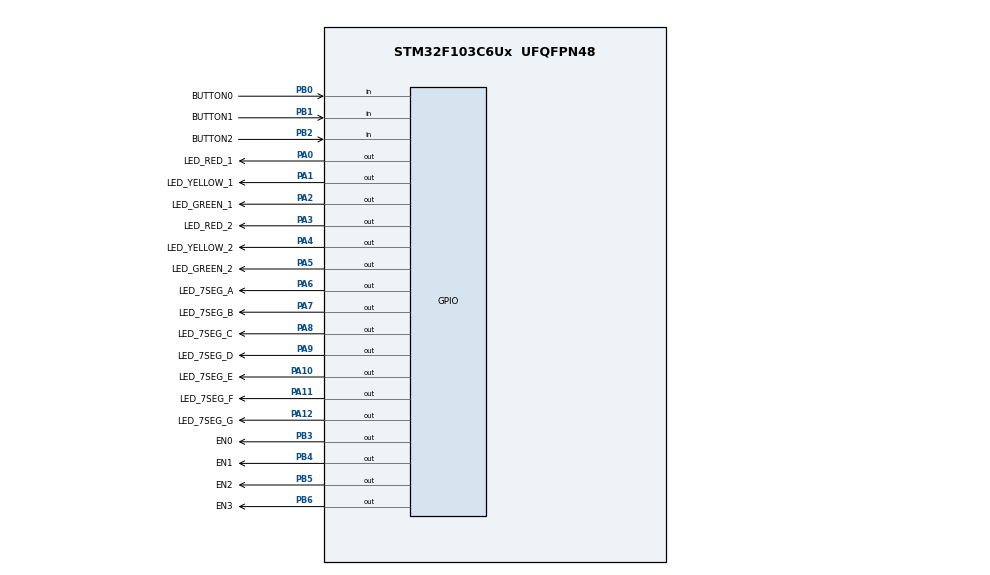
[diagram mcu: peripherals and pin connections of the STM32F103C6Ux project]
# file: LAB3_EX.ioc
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Mcu.Family=STM32F1
Mcu.Name=STM32F103C6Ux
Mcu.Package=UFQFPN48
NVIC.PriorityGroup=NVIC_PRIORITYGROUP_4
NVIC.TIM2_IRQn=true\:0\:0\:false\:false\:true\:true\:true
PA0-WKUP.GPIO_Label=LED_RED_1
PA0-WKUP.Signal=GPIO_Output
PA1.GPIO_Label=LED_YELLOW_1
PA1.Signal=GPIO_Output
PA10.GPIO_Label=LED_7SEG_E
PA10.Signal=GPIO_Output
PA11.GPIO_Label=LED_7SEG_F
PA11.Signal=GPIO_Output
PA12.GPIO_Label=LED_7SEG_G
PA12.Signal=GPIO_Output
PA2.GPIO_Label=LED_GREEN_1
PA2.Signal=GPIO_Output
PA3.GPIO_Label=LED_RED_2
PA3.Signal=GPIO_Output
PA4.GPIO_Label=LED_YELLOW_2
PA4.Signal=GPIO_Output
PA5.GPIO_Label=LED_GREEN_2
PA5.Signal=GPIO_Output
PA6.GPIO_Label=LED_7SEG_A
PA6.Signal=GPIO_Output
PA7.GPIO_Label=LED_7SEG_B
PA7.Signal=GPIO_Output
PA8.GPIO_Label=LED_7SEG_C
PA8.Signal=GPIO_Output
PA9.GPIO_Label=LED_7SEG_D
PA9.Signal=GPIO_Output
PB0.GPIO_Label=BUTTON0
PB0.GPIO_PuPd=GPIO_PULLUP
PB0.Signal=GPIO_Input
PB1.GPIO_Label=BUTTON1
PB1.GPIO_PuPd=GPIO_PULLUP
PB1.Signal=GPIO_Input
PB2.GPIO_Label=BUTTON2
PB2.GPIO_PuPd=GPIO_PULLUP
PB2.Signal=GPIO_Input
PB3.GPIO_Label=EN0
PB3.Signal=GPIO_Output
PB4.GPIO_Label=EN1
PB4.Signal=GPIO_Output
PB5.GPIO_Label=EN2
PB5.Signal=GPIO_Output
PB6.GPIO_Label=EN3
PB6.Signal=GPIO_Output
ProjectManager.HeapSize=0x200
ProjectManager.StackSize=0x400
ProjectManager.TargetToolchain=STM32CubeIDE
RCC.APB1Freq_Value=8000000
RCC.APB2Freq_Value=8000000
TIM2.Period=9
TIM2.Prescaler=7999
VP_SYS_VS_ND.Mode=No_Debug
VP_TIM2_VS_ClockSourceINT.Mode=Internal
board=custom

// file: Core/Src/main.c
/* USER CODE BEGIN Header */
/**
  ******************************************************************************
  * @file           : main.c
  * @brief          : Main program body
  ******************************************************************************
  * @attention
  *
  * <h2><center>&copy; Copyright (c) 2023 STMicroelectronics.
  * All rights reserved.</center></h2>
  *
  * This software component is licensed by ST under BSD 3-Clause license,
  * the "License"; You may not use this file except in compliance with the
  * License. You may obtain a copy of the License at:
  *                        opensource.org/licenses/BSD-3-Clause
  *
  ******************************************************************************
  */
/* USER CODE END Header */
#include "main.h"

/* USER CODE BEGIN Includes */
#include "global.h"
#include "software_timer.h"
#include "BUTTON.h"
#include "led_traffic.h"
#include "led_7_seg.h"
#include "traffic_fsm.h"
/* USER CODE END Includes */

TIM_HandleTypeDef htim2;

void SystemClock_Config(void);
static void MX_GPIO_Init(void);
static void MX_TIM2_Init(void);

int main(void)
{

  /* MCU Configuration--------------------------------------------------------*/

  /* Reset of all peripherals, Initializes the Flash interface and the Systick. */
  HAL_Init();

  /* Configure the system clock */
  SystemClock_Config();

  /* Initialize all configured peripherals */
  MX_GPIO_Init();
  MX_TIM2_Init();
  /* USER CODE BEGIN 2 */
  HAL_TIM_Base_Start_IT(&htim2);
  /* USER CODE END 2 */

  /* Infinite loop */
  /* USER CODE BEGIN WHILE */

  set_timer(3, 100);
  set_timer1(3);//4Led_7SEG
  while (1)
  {

	  fsm_for_button();
	  led_7seg_run();
	  fsm_system_run();
    /* USER CODE END WHILE */

  }
}

void SystemClock_Config(void)
{
  RCC_OscInitTypeDef RCC_OscInitStruct = {0};
  RCC_ClkInitTypeDef RCC_ClkInitStruct = {0};

  /** Initializes the RCC Oscillators according to the specified parameters
  * in the RCC_OscInitTypeDef structure.
  */
  RCC_OscInitStruct.OscillatorType = RCC_OSCILLATORTYPE_HSI;
  RCC_OscInitStruct.HSIState = RCC_HSI_ON;
  RCC_OscInitStruct.HSICalibrationValue = RCC_HSICALIBRATION_DEFAULT;
  RCC_OscInitStruct.PLL.PLLState = RCC_PLL_NONE;
  if (HAL_RCC_OscConfig(&RCC_OscInitStruct) != HAL_OK)
  {
    Error_Handler();
  }
  /** Initializes the CPU, AHB and APB buses clocks
  */
  RCC_ClkInitStruct.ClockType = RCC_CLOCKTYPE_HCLK|RCC_CLOCKTYPE_SYSCLK
                              |RCC_CLOCKTYPE_PCLK1|RCC_CLOCKTYPE_PCLK2;
  RCC_ClkInitStruct.SYSCLKSource = RCC_SYSCLKSOURCE_HSI;
  RCC_ClkInitStruct.AHBCLKDivider = RCC_SYSCLK_DIV1;
  RCC_ClkInitStruct.APB1CLKDivider = RCC_HCLK_DIV1;
  RCC_ClkInitStruct.APB2CLKDivider = RCC_HCLK_DIV1;

  if (HAL_RCC_ClockConfig(&RCC_ClkInitStruct, FLASH_LATENCY_0) != HAL_OK)
  {
    Error_Handler();
  }
}

static void MX_TIM2_Init(void)
{

  TIM_ClockConfigTypeDef sClockSourceConfig = {0};
  TIM_MasterConfigTypeDef sMasterConfig = {0};

  htim2.Instance = TIM2;
  htim2.Init.Prescaler = 7999;
  htim2.Init.CounterMode = TIM_COUNTERMODE_UP;
  htim2.Init.Period = 9;
  htim2.Init.ClockDivision = TIM_CLOCKDIVISION_DIV1;
  htim2.Init.AutoReloadPreload = TIM_AUTORELOAD_PRELOAD_DISABLE;
  if (HAL_TIM_Base_Init(&htim2) != HAL_OK)
  {
    Error_Handler();
  }
  sClockSourceConfig.ClockSource = TIM_CLOCKSOURCE_INTERNAL;
  if (HAL_TIM_ConfigClockSource(&htim2, &sClockSourceConfig) != HAL_OK)
  {
    Error_Handler();
  }
  sMasterConfig.MasterOutputTrigger = TIM_TRGO_RESET;
  sMasterConfig.MasterSlaveMode = TIM_MASTERSLAVEMODE_DISABLE;
  if (HAL_TIMEx_MasterConfigSynchronization(&htim2, &sMasterConfig) != HAL_OK)
  {
    Error_Handler();
  }

}

static void MX_GPIO_Init(void)
{
  GPIO_InitTypeDef GPIO_InitStruct = {0};

  /* GPIO Ports Clock Enable */
  __HAL_RCC_GPIOA_CLK_ENABLE();
  __HAL_RCC_GPIOB_CLK_ENABLE();

  /*Configure GPIO pin Output Level */
  HAL_GPIO_WritePin(GPIOA, LED_RED_1_Pin|LED_YELLOW_1_Pin|LED_GREEN_1_Pin|LED_RED_2_Pin
                          |LED_YELLOW_2_Pin|LED_GREEN_2_Pin|LED_7SEG_A_Pin|LED_7SEG_B_Pin
                          |LED_7SEG_C_Pin|LED_7SEG_D_Pin|LED_7SEG_E_Pin|LED_7SEG_F_Pin
                          |LED_7SEG_G_Pin, GPIO_PIN_RESET);

  /*Configure GPIO pin Output Level */
  HAL_GPIO_WritePin(GPIOB, EN0_Pin|EN1_Pin|EN2_Pin|EN3_Pin, GPIO_PIN_RESET);

  /*Configure GPIO pins : LED_RED_1_Pin LED_YELLOW_1_Pin LED_GREEN_1_Pin LED_RED_2_Pin
                           LED_YELLOW_2_Pin LED_GREEN_2_Pin LED_7SEG_A_Pin LED_7SEG_B_Pin
                           LED_7SEG_C_Pin LED_7SEG_D_Pin LED_7SEG_E_Pin LED_7SEG_F_Pin
                           LED_7SEG_G_Pin */
  GPIO_InitStruct.Pin = LED_RED_1_Pin|LED_YELLOW_1_Pin|LED_GREEN_1_Pin|LED_RED_2_Pin
                          |LED_YELLOW_2_Pin|LED_GREEN_2_Pin|LED_7SEG_A_Pin|LED_7SEG_B_Pin
                          |LED_7SEG_C_Pin|LED_7SEG_D_Pin|LED_7SEG_E_Pin|LED_7SEG_F_Pin
                          |LED_7SEG_G_Pin;
  GPIO_InitStruct.Mode = GPIO_MODE_OUTPUT_PP;
  GPIO_InitStruct.Pull = GPIO_NOPULL;
  GPIO_InitStruct.Speed = GPIO_SPEED_FREQ_LOW;
  HAL_GPIO_Init(GPIOA, &GPIO_InitStruct);

  /*Configure GPIO pins : BUTTON0_Pin BUTTON1_Pin BUTTON2_Pin */
  GPIO_InitStruct.Pin = BUTTON0_Pin|BUTTON1_Pin|BUTTON2_Pin;
  GPIO_InitStruct.Mode = GPIO_MODE_INPUT;
  GPIO_InitStruct.Pull = GPIO_PULLUP;
  HAL_GPIO_Init(GPIOB, &GPIO_InitStruct);

  /*Configure GPIO pins : EN0_Pin EN1_Pin EN2_Pin EN3_Pin */
  GPIO_InitStruct.Pin = EN0_Pin|EN1_Pin|EN2_Pin|EN3_Pin;
  GPIO_InitStruct.Mode = GPIO_MODE_OUTPUT_PP;
  GPIO_InitStruct.Pull = GPIO_NOPULL;
  GPIO_InitStruct.Speed = GPIO_SPEED_FREQ_LOW;
  HAL_GPIO_Init(GPIOB, &GPIO_InitStruct);

}

/* USER CODE BEGIN 4 */
void HAL_TIM_PeriodElapsedCallback(TIM_HandleTypeDef *htim){
	timer_run();
	read_input();
}
/* USER CODE END 4 */

void Error_Handler(void)
{
  __disable_irq();
  while (1)
  {
  }
}

/************************ (C) COPYRIGHT STMicroelectronics *****END OF FILE****/
